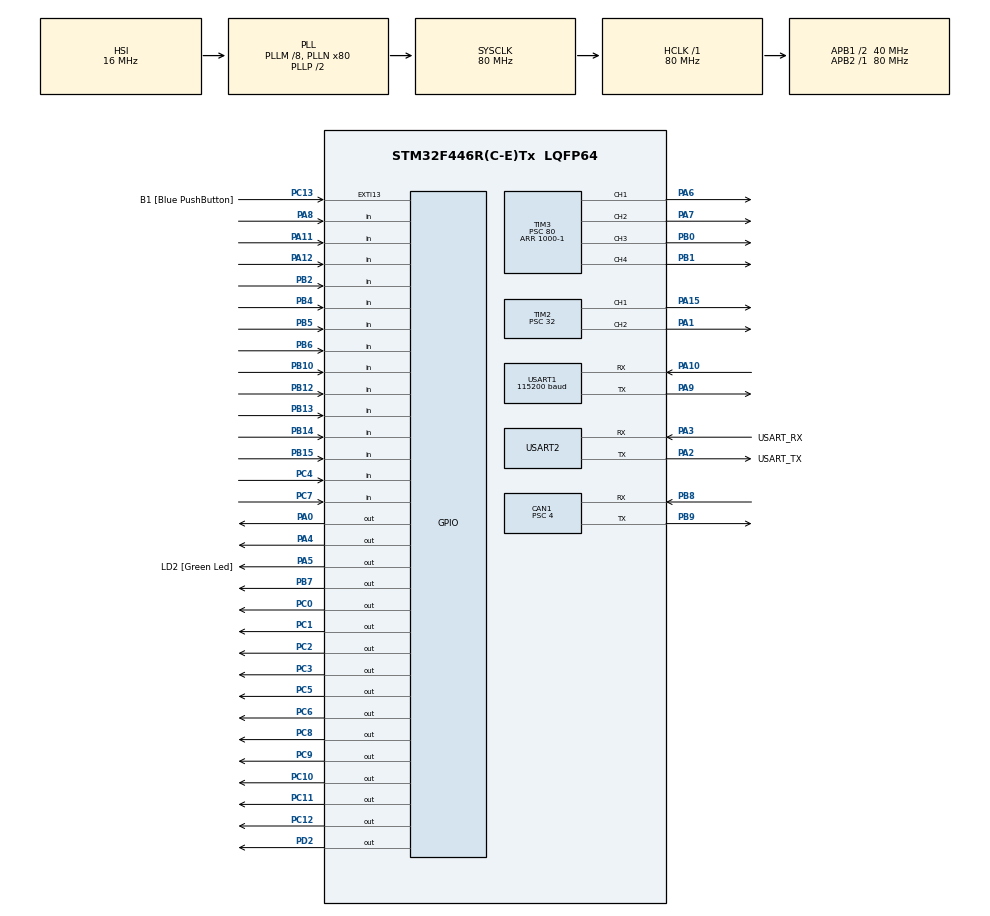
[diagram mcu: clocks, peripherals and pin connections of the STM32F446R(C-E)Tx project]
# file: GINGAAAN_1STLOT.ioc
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CAN1.BS1=CAN_BS1_11TQ
CAN1.BS2=CAN_BS2_8TQ
CAN1.CalculateBaudRate=500000
CAN1.CalculateTimeBit=2000.00
CAN1.CalculateTimeQuantum=100.0
CAN1.Prescaler=4
Dma.Request0=USART1_RX
Dma.Request1=USART1_TX
Dma.Request2=USART2_RX
Dma.Request3=USART2_TX
Dma.USART1_RX.0.Direction=DMA_PERIPH_TO_MEMORY
Dma.USART1_RX.0.FIFOMode=DMA_FIFOMODE_DISABLE
Dma.USART1_RX.0.Instance=DMA2_Stream2
Dma.USART1_RX.0.MemDataAlignment=DMA_MDATAALIGN_BYTE
Dma.USART1_RX.0.MemInc=DMA_MINC_ENABLE
Dma.USART1_RX.0.Mode=DMA_NORMAL
Dma.USART1_RX.0.PeriphDataAlignment=DMA_PDATAALIGN_BYTE
Dma.USART1_RX.0.PeriphInc=DMA_PINC_DISABLE
Dma.USART1_RX.0.Priority=DMA_PRIORITY_LOW
Dma.USART1_TX.1.Direction=DMA_MEMORY_TO_PERIPH
Dma.USART1_TX.1.FIFOMode=DMA_FIFOMODE_DISABLE
Dma.USART1_TX.1.Instance=DMA2_Stream7
Dma.USART1_TX.1.MemDataAlignment=DMA_MDATAALIGN_BYTE
Dma.USART1_TX.1.MemInc=DMA_MINC_ENABLE
Dma.USART1_TX.1.Mode=DMA_NORMAL
Dma.USART1_TX.1.PeriphDataAlignment=DMA_PDATAALIGN_BYTE
Dma.USART1_TX.1.PeriphInc=DMA_PINC_DISABLE
Dma.USART1_TX.1.Priority=DMA_PRIORITY_LOW
Dma.USART2_RX.2.Direction=DMA_PERIPH_TO_MEMORY
Dma.USART2_RX.2.FIFOMode=DMA_FIFOMODE_DISABLE
Dma.USART2_RX.2.Instance=DMA1_Stream5
Dma.USART2_RX.2.MemDataAlignment=DMA_MDATAALIGN_BYTE
Dma.USART2_RX.2.MemInc=DMA_MINC_ENABLE
Dma.USART2_RX.2.Mode=DMA_NORMAL
Dma.USART2_RX.2.PeriphDataAlignment=DMA_PDATAALIGN_BYTE
Dma.USART2_RX.2.PeriphInc=DMA_PINC_DISABLE
Dma.USART2_RX.2.Priority=DMA_PRIORITY_LOW
Dma.USART2_TX.3.Direction=DMA_MEMORY_TO_PERIPH
Dma.USART2_TX.3.FIFOMode=DMA_FIFOMODE_DISABLE
Dma.USART2_TX.3.Instance=DMA1_Stream6
Dma.USART2_TX.3.MemDataAlignment=DMA_MDATAALIGN_BYTE
Dma.USART2_TX.3.MemInc=DMA_MINC_ENABLE
Dma.USART2_TX.3.Mode=DMA_NORMAL
Dma.USART2_TX.3.PeriphDataAlignment=DMA_PDATAALIGN_BYTE
Dma.USART2_TX.3.PeriphInc=DMA_PINC_DISABLE
Dma.USART2_TX.3.Priority=DMA_PRIORITY_LOW
Mcu.Family=STM32F4
Mcu.Name=STM32F446R(C-E)Tx
Mcu.Package=LQFP64
NVIC.CAN1_RX0_IRQn=true\:0\:0\:false\:false\:true\:true\:true
NVIC.CAN1_RX1_IRQn=true\:0\:0\:false\:false\:true\:true\:true
NVIC.CAN1_SCE_IRQn=true\:0\:0\:false\:false\:true\:true\:true
NVIC.CAN1_TX_IRQn=true\:0\:0\:false\:false\:true\:true\:true
NVIC.DMA1_Stream5_IRQn=true\:0\:0\:false\:false\:true\:false\:true
NVIC.DMA1_Stream6_IRQn=true\:0\:0\:false\:false\:true\:false\:true
NVIC.DMA2_Stream2_IRQn=true\:0\:0\:false\:false\:true\:false\:true
NVIC.DMA2_Stream7_IRQn=true\:0\:0\:false\:false\:true\:false\:true
NVIC.PriorityGroup=NVIC_PRIORITYGROUP_0
NVIC.USART1_IRQn=true\:0\:0\:false\:false\:true\:true\:true
NVIC.USART2_IRQn=true\:0\:0\:false\:false\:true\:true\:true
PA0-WKUP.Signal=GPIO_Output
PA1.Signal=S_TIM2_CH2
PA10.Mode=Asynchronous
PA10.Signal=USART1_RX
PA11.GPIO_PuPd=GPIO_PULLUP
PA11.Signal=GPIO_Input
PA12.GPIO_PuPd=GPIO_PULLUP
PA12.Signal=GPIO_Input
PA13.GPIO_Label=TMS
PA13.Mode=Serial_Wire
PA13.Signal=SYS_JTMS-SWDIO
PA14.GPIO_Label=TCK
PA14.Mode=Serial_Wire
PA14.Signal=SYS_JTCK-SWCLK
PA15.Signal=S_TIM2_CH1_ETR
PA2.GPIO_Label=USART_TX
PA2.Mode=Asynchronous
PA2.Signal=USART2_TX
PA3.GPIO_Label=USART_RX
PA3.Mode=Asynchronous
PA3.Signal=USART2_RX
PA4.Signal=GPIO_Output
PA5.GPIO_Label=LD2 [Green Led]
PA5.Signal=GPIO_Output
PA6.Signal=S_TIM3_CH1
PA7.Signal=S_TIM3_CH2
PA8.GPIO_PuPd=GPIO_PULLUP
PA8.Signal=GPIO_Input
PA9.Mode=Asynchronous
PA9.Signal=USART1_TX
PB0.Signal=S_TIM3_CH3
PB1.Signal=S_TIM3_CH4
PB10.GPIO_PuPd=GPIO_PULLUP
PB10.Signal=GPIO_Input
PB12.GPIO_PuPd=GPIO_PULLUP
PB12.Signal=GPIO_Input
PB13.GPIO_PuPd=GPIO_PULLUP
PB13.Signal=GPIO_Input
PB14.GPIO_PuPd=GPIO_PULLUP
PB14.Signal=GPIO_Input
PB15.GPIO_PuPd=GPIO_PULLUP
PB15.Signal=GPIO_Input
PB2.GPIO_PuPd=GPIO_PULLUP
PB2.Signal=GPIO_Input
PB3.GPIO_Label=SWO
PB3.Signal=SYS_JTDO-SWO
PB4.GPIO_PuPd=GPIO_PULLUP
PB4.Signal=GPIO_Input
PB5.GPIO_PuPd=GPIO_PULLUP
PB5.Signal=GPIO_Input
PB6.GPIO_PuPd=GPIO_PULLUP
PB6.Signal=GPIO_Input
PB7.Signal=GPIO_Output
PB8.Mode=CAN_Activate
PB8.Signal=CAN1_RX
PB9.Mode=CAN_Activate
PB9.Signal=CAN1_TX
PC0.Signal=GPIO_Output
PC1.Signal=GPIO_Output
PC10.Signal=GPIO_Output
PC11.Signal=GPIO_Output
PC12.Signal=GPIO_Output
PC13.GPIO_Label=B1 [Blue PushButton]
PC13.GPIO_ModeDefaultEXTI=GPIO_MODE_IT_FALLING
PC13.Signal=GPXTI13
PC14-OSC32_IN.Mode=LSE-External-Oscillator
PC14-OSC32_IN.Signal=RCC_OSC32_IN
PC15-OSC32_OUT.Mode=LSE-External-Oscillator
PC15-OSC32_OUT.Signal=RCC_OSC32_OUT
PC2.Signal=GPIO_Output
PC3.Signal=GPIO_Output
PC4.GPIO_PuPd=GPIO_PULLUP
PC4.Signal=GPIO_Input
PC5.Signal=GPIO_Output
PC6.Signal=GPIO_Output
PC7.GPIO_PuPd=GPIO_PULLUP
PC7.Signal=GPIO_Input
PC8.Signal=GPIO_Output
PC9.Signal=GPIO_Output
PD2.Signal=GPIO_Output
PH0-OSC_IN.Mode=HSE-External-Oscillator
PH0-OSC_IN.Signal=RCC_OSC_IN
PH1-OSC_OUT.Mode=HSE-External-Oscillator
PH1-OSC_OUT.Signal=RCC_OSC_OUT
ProjectManager.HeapSize=0x200
ProjectManager.StackSize=0x400
ProjectManager.TargetToolchain=STM32CubeIDE
RCC.48MHZClocksFreq_Value=84000000
RCC.AHBFreq_Value=80000000
RCC.APB1CLKDivider=RCC_HCLK_DIV2
RCC.APB1Freq_Value=40000000
RCC.APB1TimFreq_Value=80000000
RCC.APB2Freq_Value=80000000
RCC.APB2TimFreq_Value=80000000
RCC.CortexFreq_Value=80000000
RCC.FLatency-AdvancedSettings=FLASH_LATENCY_2
RCC.HCLKFreq_Value=80000000
RCC.HSE_VALUE=8000000
RCC.HSI_VALUE=16000000
RCC.PLLM=8
RCC.PLLN=80
RCC.SYSCLKFreq_VALUE=80000000
RCC.SYSCLKSource=RCC_SYSCLKSOURCE_PLLCLK
RCC.USBFreq_Value=80000000
RCC.VCOOutputFreq_Value=160000000
SH.S_TIM2_CH1_ETR.0=TIM2_CH1,PWM Generation1 CH1
SH.S_TIM2_CH2.0=TIM2_CH2,PWM Generation2 CH2
SH.S_TIM3_CH1.0=TIM3_CH1,PWM Generation1 CH1
SH.S_TIM3_CH2.0=TIM3_CH2,PWM Generation2 CH2
SH.S_TIM3_CH3.0=TIM3_CH3,PWM Generation3 CH3
SH.S_TIM3_CH4.0=TIM3_CH4,PWM Generation4 CH4
TIM2.Channel-PWM\ Generation1\ CH1=TIM_CHANNEL_1
TIM2.Channel-PWM\ Generation2\ CH2=TIM_CHANNEL_2
TIM2.Period=1000-1
TIM2.Prescaler=32
TIM3.Channel-PWM\ Generation1\ CH1=TIM_CHANNEL_1
TIM3.Channel-PWM\ Generation2\ CH2=TIM_CHANNEL_2
TIM3.Channel-PWM\ Generation3\ CH3=TIM_CHANNEL_3
TIM3.Channel-PWM\ Generation4\ CH4=TIM_CHANNEL_4
TIM3.Period=1000-1
TIM3.Prescaler=80
USART1.BaudRate=115200
USART1.VirtualMode=VM_ASYNC
USART2.VirtualMode=VM_ASYNC
VP_TIM2_VS_ClockSourceINT.Mode=Internal
VP_TIM3_VS_ClockSourceINT.Mode=Internal
board=NUCLEO-F446RE

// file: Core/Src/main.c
/* USER CODE BEGIN Header */
/**
  ******************************************************************************
  * @file           : main.c
  * @brief          : Main program body
  ******************************************************************************
  * @attention
  *
  * <h2><center>&copy; Copyright (c) 2023 STMicroelectronics.
  * All rights reserved.</center></h2>
  *
  * This software component is licensed by ST under BSD 3-Clause license,
  * the "License"; You may not use this file except in compliance with the
  * License. You may obtain a copy of the License at:
  *                        opensource.org/licenses/BSD-3-Clause
  *
  ******************************************************************************
  */
/* USER CODE END Header */
#include "main.h"

CAN_HandleTypeDef hcan1;

TIM_HandleTypeDef htim2;
TIM_HandleTypeDef htim3;

UART_HandleTypeDef huart1;
UART_HandleTypeDef huart2;
DMA_HandleTypeDef hdma_usart1_rx;
DMA_HandleTypeDef hdma_usart1_tx;
DMA_HandleTypeDef hdma_usart2_rx;
DMA_HandleTypeDef hdma_usart2_tx;

/* USER CODE BEGIN PV */
volatile uint32_t G_System_counter = 0;
/* USER CODE END PV */

void SystemClock_Config(void);
static void MX_GPIO_Init(void);
static void MX_DMA_Init(void);
static void MX_USART1_UART_Init(void);
static void MX_USART2_UART_Init(void);
static void MX_TIM3_Init(void);
static void MX_CAN1_Init(void);
static void MX_TIM2_Init(void);

int main(void)
{

  /* MCU Configuration--------------------------------------------------------*/

  /* Reset of all peripherals, Initializes the Flash interface and the Systick. */
  HAL_Init();

  /* Configure the system clock */
  SystemClock_Config();

  /* Initialize all configured peripherals */
  MX_GPIO_Init();
  MX_DMA_Init();
  MX_USART1_UART_Init();
  MX_USART2_UART_Init();
  MX_TIM3_Init();
  MX_CAN1_Init();
  MX_TIM2_Init();
  /* USER CODE BEGIN 2 */
  D_PWM_Init();
  D_CAN_Init();

  //HAL_TIM_Base_Start_IT(&htim2);

  appInit();
  /* USER CODE END 2 */

  /* Infinite loop */
  /* USER CODE BEGIN WHILE */
  while (1)
  {
	  //メインタスクの処理
	  appTask();

	  //if(HAL_GPIO_ReadPin(GPIOC,GPIO_PIN_9) == 1){
		  //HAL_GPIO_WritePin(GPIOA,GPIO_PIN_5,GPIO_PIN_SET);
	  //}else if(HAL_GPIO_ReadPin(GPIOC,GPIO_PIN_9) == 0){
		  //HAL_GPIO_WritePin(GPIOA,GPIO_PIN_5,GPIO_PIN_RESET);
	  //}
	  /*if(HAL_GPIO_ReadPin(GPIOC,GPIO_PIN_13) == 0){
		  __HAL_TIM_SET_COMPARE(&htim3, TIM_CHANNEL_4, 50);
		  //__HAL_TIM_SET_COMPARE(&htim3, TIM_CHANNEL_2, 500);
		  HAL_GPIO_WritePin(GPIOC,GPIO_PIN_5,GPIO_PIN_SET);
		  //HAL_GPIO_WritePin(GPIOC,GPIO_PIN_6,GPIO_PIN_SET);
		  HAL_GPIO_WritePin(GPIOA,GPIO_PIN_5,GPIO_PIN_SET);

		  HAL_GPIO_WritePin(GPIOB,GPIO_PIN_14,GPIO_PIN_SET);
		  HAL_GPIO_WritePin(GPIOB,GPIO_PIN_15,GPIO_PIN_RESET);

		  D_Mess_printf("%d\n", G_System_counter);
		  D_Mess_flush();
	  }else if(HAL_GPIO_ReadPin(GPIOC,GPIO_PIN_13) == 1){
		  __HAL_TIM_SET_COMPARE(&htim3, TIM_CHANNEL_4, 2500);
		  //__HAL_TIM_SET_COMPARE(&htim3, TIM_CHANNEL_2, 100);
		  HAL_GPIO_WritePin(GPIOC,GPIO_PIN_5,GPIO_PIN_RESET);
		  HAL_GPIO_WritePin(GPIOC,GPIO_PIN_6,GPIO_PIN_RESET);
		  HAL_GPIO_WritePin(GPIOA,GPIO_PIN_5,GPIO_PIN_RESET);

		  HAL_GPIO_WritePin(GPIOB,GPIO_PIN_14,GPIO_PIN_RESET);
		  HAL_GPIO_WritePin(GPIOB,GPIO_PIN_15,GPIO_PIN_SET);
//		  D_Mess_printf("tes2");
//		  D_Mess_flush();
	  }*/
	  D_Slider_SystickUpdate();
	  D_Mess_flush();
    /* USER CODE END WHILE */

  }
}

void SystemClock_Config(void)
{
  RCC_OscInitTypeDef RCC_OscInitStruct = {0};
  RCC_ClkInitTypeDef RCC_ClkInitStruct = {0};

  /** Configure the main internal regulator output voltage
  */
  __HAL_RCC_PWR_CLK_ENABLE();
  __HAL_PWR_VOLTAGESCALING_CONFIG(PWR_REGULATOR_VOLTAGE_SCALE3);
  /** Initializes the RCC Oscillators according to the specified parameters
  * in the RCC_OscInitTypeDef structure.
  */
  RCC_OscInitStruct.OscillatorType = RCC_OSCILLATORTYPE_HSI;
  RCC_OscInitStruct.HSIState = RCC_HSI_ON;
  RCC_OscInitStruct.HSICalibrationValue = RCC_HSICALIBRATION_DEFAULT;
  RCC_OscInitStruct.PLL.PLLState = RCC_PLL_ON;
  RCC_OscInitStruct.PLL.PLLSource = RCC_PLLSOURCE_HSI;
  RCC_OscInitStruct.PLL.PLLM = 8;
  RCC_OscInitStruct.PLL.PLLN = 80;
  RCC_OscInitStruct.PLL.PLLP = RCC_PLLP_DIV2;
  RCC_OscInitStruct.PLL.PLLQ = 2;
  RCC_OscInitStruct.PLL.PLLR = 2;
  if (HAL_RCC_OscConfig(&RCC_OscInitStruct) != HAL_OK)
  {
    Error_Handler();
  }
  /** Initializes the CPU, AHB and APB buses clocks
  */
  RCC_ClkInitStruct.ClockType = RCC_CLOCKTYPE_HCLK|RCC_CLOCKTYPE_SYSCLK
                              |RCC_CLOCKTYPE_PCLK1|RCC_CLOCKTYPE_PCLK2;
  RCC_ClkInitStruct.SYSCLKSource = RCC_SYSCLKSOURCE_PLLCLK;
  RCC_ClkInitStruct.AHBCLKDivider = RCC_SYSCLK_DIV1;
  RCC_ClkInitStruct.APB1CLKDivider = RCC_HCLK_DIV2;
  RCC_ClkInitStruct.APB2CLKDivider = RCC_HCLK_DIV1;

  if (HAL_RCC_ClockConfig(&RCC_ClkInitStruct, FLASH_LATENCY_2) != HAL_OK)
  {
    Error_Handler();
  }
}

static void MX_CAN1_Init(void)
{

  hcan1.Instance = CAN1;
  hcan1.Init.Prescaler = 4;
  hcan1.Init.Mode = CAN_MODE_NORMAL;
  hcan1.Init.SyncJumpWidth = CAN_SJW_1TQ;
  hcan1.Init.TimeSeg1 = CAN_BS1_11TQ;
  hcan1.Init.TimeSeg2 = CAN_BS2_8TQ;
  hcan1.Init.TimeTriggeredMode = DISABLE;
  hcan1.Init.AutoBusOff = DISABLE;
  hcan1.Init.AutoWakeUp = DISABLE;
  hcan1.Init.AutoRetransmission = DISABLE;
  hcan1.Init.ReceiveFifoLocked = DISABLE;
  hcan1.Init.TransmitFifoPriority = DISABLE;
  if (HAL_CAN_Init(&hcan1) != HAL_OK)
  {
    Error_Handler();
  }

}

static void MX_TIM2_Init(void)
{

  TIM_ClockConfigTypeDef sClockSourceConfig = {0};
  TIM_MasterConfigTypeDef sMasterConfig = {0};
  TIM_OC_InitTypeDef sConfigOC = {0};

  htim2.Instance = TIM2;
  htim2.Init.Prescaler = 32;
  htim2.Init.CounterMode = TIM_COUNTERMODE_UP;
  htim2.Init.Period = 1000-1;
  htim2.Init.ClockDivision = TIM_CLOCKDIVISION_DIV1;
  htim2.Init.AutoReloadPreload = TIM_AUTORELOAD_PRELOAD_DISABLE;
  if (HAL_TIM_Base_Init(&htim2) != HAL_OK)
  {
    Error_Handler();
  }
  sClockSourceConfig.ClockSource = TIM_CLOCKSOURCE_INTERNAL;
  if (HAL_TIM_ConfigClockSource(&htim2, &sClockSourceConfig) != HAL_OK)
  {
    Error_Handler();
  }
  if (HAL_TIM_PWM_Init(&htim2) != HAL_OK)
  {
    Error_Handler();
  }
  sMasterConfig.MasterOutputTrigger = TIM_TRGO_RESET;
  sMasterConfig.MasterSlaveMode = TIM_MASTERSLAVEMODE_DISABLE;
  if (HAL_TIMEx_MasterConfigSynchronization(&htim2, &sMasterConfig) != HAL_OK)
  {
    Error_Handler();
  }
  sConfigOC.OCMode = TIM_OCMODE_PWM1;
  sConfigOC.Pulse = 0;
  sConfigOC.OCPolarity = TIM_OCPOLARITY_HIGH;
  sConfigOC.OCFastMode = TIM_OCFAST_DISABLE;
  if (HAL_TIM_PWM_ConfigChannel(&htim2, &sConfigOC, TIM_CHANNEL_1) != HAL_OK)
  {
    Error_Handler();
  }
  if (HAL_TIM_PWM_ConfigChannel(&htim2, &sConfigOC, TIM_CHANNEL_2) != HAL_OK)
  {
    Error_Handler();
  }
  HAL_TIM_MspPostInit(&htim2);

}

static void MX_TIM3_Init(void)
{

  TIM_ClockConfigTypeDef sClockSourceConfig = {0};
  TIM_MasterConfigTypeDef sMasterConfig = {0};
  TIM_OC_InitTypeDef sConfigOC = {0};

  htim3.Instance = TIM3;
  htim3.Init.Prescaler = 80;
  htim3.Init.CounterMode = TIM_COUNTERMODE_UP;
  htim3.Init.Period = 1000-1;
  htim3.Init.ClockDivision = TIM_CLOCKDIVISION_DIV1;
  htim3.Init.AutoReloadPreload = TIM_AUTORELOAD_PRELOAD_DISABLE;
  if (HAL_TIM_Base_Init(&htim3) != HAL_OK)
  {
    Error_Handler();
  }
  sClockSourceConfig.ClockSource = TIM_CLOCKSOURCE_INTERNAL;
  if (HAL_TIM_ConfigClockSource(&htim3, &sClockSourceConfig) != HAL_OK)
  {
    Error_Handler();
  }
  if (HAL_TIM_PWM_Init(&htim3) != HAL_OK)
  {
    Error_Handler();
  }
  sMasterConfig.MasterOutputTrigger = TIM_TRGO_RESET;
  sMasterConfig.MasterSlaveMode = TIM_MASTERSLAVEMODE_DISABLE;
  if (HAL_TIMEx_MasterConfigSynchronization(&htim3, &sMasterConfig) != HAL_OK)
  {
    Error_Handler();
  }
  sConfigOC.OCMode = TIM_OCMODE_PWM1;
  sConfigOC.Pulse = 0;
  sConfigOC.OCPolarity = TIM_OCPOLARITY_HIGH;
  sConfigOC.OCFastMode = TIM_OCFAST_DISABLE;
  if (HAL_TIM_PWM_ConfigChannel(&htim3, &sConfigOC, TIM_CHANNEL_1) != HAL_OK)
  {
    Error_Handler();
  }
  if (HAL_TIM_PWM_ConfigChannel(&htim3, &sConfigOC, TIM_CHANNEL_2) != HAL_OK)
  {
    Error_Handler();
  }
  if (HAL_TIM_PWM_ConfigChannel(&htim3, &sConfigOC, TIM_CHANNEL_3) != HAL_OK)
  {
    Error_Handler();
  }
  if (HAL_TIM_PWM_ConfigChannel(&htim3, &sConfigOC, TIM_CHANNEL_4) != HAL_OK)
  {
    Error_Handler();
  }
  HAL_TIM_MspPostInit(&htim3);

}

static void MX_USART1_UART_Init(void)
{

  huart1.Instance = USART1;
  huart1.Init.BaudRate = 115200;
  huart1.Init.WordLength = UART_WORDLENGTH_8B;
  huart1.Init.StopBits = UART_STOPBITS_1;
  huart1.Init.Parity = UART_PARITY_NONE;
  huart1.Init.Mode = UART_MODE_TX_RX;
  huart1.Init.HwFlowCtl = UART_HWCONTROL_NONE;
  huart1.Init.OverSampling = UART_OVERSAMPLING_16;
  if (HAL_UART_Init(&huart1) != HAL_OK)
  {
    Error_Handler();
  }

}

static void MX_USART2_UART_Init(void)
{

  huart2.Instance = USART2;
  huart2.Init.BaudRate = 115200;
  huart2.Init.WordLength = UART_WORDLENGTH_8B;
  huart2.Init.StopBits = UART_STOPBITS_1;
  huart2.Init.Parity = UART_PARITY_NONE;
  huart2.Init.Mode = UART_MODE_TX_RX;
  huart2.Init.HwFlowCtl = UART_HWCONTROL_NONE;
  huart2.Init.OverSampling = UART_OVERSAMPLING_16;
  if (HAL_UART_Init(&huart2) != HAL_OK)
  {
    Error_Handler();
  }

}

static void MX_DMA_Init(void)
{

  /* DMA controller clock enable */
  __HAL_RCC_DMA2_CLK_ENABLE();
  __HAL_RCC_DMA1_CLK_ENABLE();

  /* DMA interrupt init */
  /* DMA1_Stream5_IRQn interrupt configuration */
  HAL_NVIC_SetPriority(DMA1_Stream5_IRQn, 0, 0);
  HAL_NVIC_EnableIRQ(DMA1_Stream5_IRQn);
  /* DMA1_Stream6_IRQn interrupt configuration */
  HAL_NVIC_SetPriority(DMA1_Stream6_IRQn, 0, 0);
  HAL_NVIC_EnableIRQ(DMA1_Stream6_IRQn);
  /* DMA2_Stream2_IRQn interrupt configuration */
  HAL_NVIC_SetPriority(DMA2_Stream2_IRQn, 0, 0);
  HAL_NVIC_EnableIRQ(DMA2_Stream2_IRQn);
  /* DMA2_Stream7_IRQn interrupt configuration */
  HAL_NVIC_SetPriority(DMA2_Stream7_IRQn, 0, 0);
  HAL_NVIC_EnableIRQ(DMA2_Stream7_IRQn);

}

static void MX_GPIO_Init(void)
{
  GPIO_InitTypeDef GPIO_InitStruct = {0};

  /* GPIO Ports Clock Enable */
  __HAL_RCC_GPIOC_CLK_ENABLE();
  __HAL_RCC_GPIOH_CLK_ENABLE();
  __HAL_RCC_GPIOA_CLK_ENABLE();
  __HAL_RCC_GPIOB_CLK_ENABLE();
  __HAL_RCC_GPIOD_CLK_ENABLE();

  /*Configure GPIO pin Output Level */
  HAL_GPIO_WritePin(GPIOC, GPIO_PIN_0|GPIO_PIN_1|GPIO_PIN_2|GPIO_PIN_3
                          |GPIO_PIN_5|GPIO_PIN_6|GPIO_PIN_8|GPIO_PIN_9
                          |GPIO_PIN_10|GPIO_PIN_11|GPIO_PIN_12, GPIO_PIN_RESET);

  /*Configure GPIO pin Output Level */
  HAL_GPIO_WritePin(GPIOA, GPIO_PIN_0|GPIO_PIN_4|LD2_Pin, GPIO_PIN_RESET);

  /*Configure GPIO pin Output Level */
  HAL_GPIO_WritePin(GPIOD, GPIO_PIN_2, GPIO_PIN_RESET);

  /*Configure GPIO pin Output Level */
  HAL_GPIO_WritePin(GPIOB, GPIO_PIN_7, GPIO_PIN_RESET);

  /*Configure GPIO pin : B1_Pin */
  GPIO_InitStruct.Pin = B1_Pin;
  GPIO_InitStruct.Mode = GPIO_MODE_IT_FALLING;
  GPIO_InitStruct.Pull = GPIO_NOPULL;
  HAL_GPIO_Init(B1_GPIO_Port, &GPIO_InitStruct);

  /*Configure GPIO pins : PC0 PC1 PC2 PC3
                           PC5 PC6 PC8 PC9
                           PC10 PC11 PC12 */
  GPIO_InitStruct.Pin = GPIO_PIN_0|GPIO_PIN_1|GPIO_PIN_2|GPIO_PIN_3
                          |GPIO_PIN_5|GPIO_PIN_6|GPIO_PIN_8|GPIO_PIN_9
                          |GPIO_PIN_10|GPIO_PIN_11|GPIO_PIN_12;
  GPIO_InitStruct.Mode = GPIO_MODE_OUTPUT_PP;
  GPIO_InitStruct.Pull = GPIO_NOPULL;
  GPIO_InitStruct.Speed = GPIO_SPEED_FREQ_LOW;
  HAL_GPIO_Init(GPIOC, &GPIO_InitStruct);

  /*Configure GPIO pins : PA0 PA4 LD2_Pin */
  GPIO_InitStruct.Pin = GPIO_PIN_0|GPIO_PIN_4|LD2_Pin;
  GPIO_InitStruct.Mode = GPIO_MODE_OUTPUT_PP;
  GPIO_InitStruct.Pull = GPIO_NOPULL;
  GPIO_InitStruct.Speed = GPIO_SPEED_FREQ_LOW;
  HAL_GPIO_Init(GPIOA, &GPIO_InitStruct);

  /*Configure GPIO pins : PC4 PC7 */
  GPIO_InitStruct.Pin = GPIO_PIN_4|GPIO_PIN_7;
  GPIO_InitStruct.Mode = GPIO_MODE_INPUT;
  GPIO_InitStruct.Pull = GPIO_PULLUP;
  HAL_GPIO_Init(GPIOC, &GPIO_InitStruct);

  /*Configure GPIO pins : PB2 PB10 PB12 PB13
                           PB14 PB15 PB4 PB5
                           PB6 */
  GPIO_InitStruct.Pin = GPIO_PIN_2|GPIO_PIN_10|GPIO_PIN_12|GPIO_PIN_13
                          |GPIO_PIN_14|GPIO_PIN_15|GPIO_PIN_4|GPIO_PIN_5
                          |GPIO_PIN_6;
  GPIO_InitStruct.Mode = GPIO_MODE_INPUT;
  GPIO_InitStruct.Pull = GPIO_PULLUP;
  HAL_GPIO_Init(GPIOB, &GPIO_InitStruct);

  /*Configure GPIO pins : PA8 PA11 PA12 */
  GPIO_InitStruct.Pin = GPIO_PIN_8|GPIO_PIN_11|GPIO_PIN_12;
  GPIO_InitStruct.Mode = GPIO_MODE_INPUT;
  GPIO_InitStruct.Pull = GPIO_PULLUP;
  HAL_GPIO_Init(GPIOA, &GPIO_InitStruct);

  /*Configure GPIO pin : PD2 */
  GPIO_InitStruct.Pin = GPIO_PIN_2;
  GPIO_InitStruct.Mode = GPIO_MODE_OUTPUT_PP;
  GPIO_InitStruct.Pull = GPIO_NOPULL;
  GPIO_InitStruct.Speed = GPIO_SPEED_FREQ_LOW;
  HAL_GPIO_Init(GPIOD, &GPIO_InitStruct);

  /*Configure GPIO pin : PB7 */
  GPIO_InitStruct.Pin = GPIO_PIN_7;
  GPIO_InitStruct.Mode = GPIO_MODE_OUTPUT_PP;
  GPIO_InitStruct.Pull = GPIO_NOPULL;
  GPIO_InitStruct.Speed = GPIO_SPEED_FREQ_LOW;
  HAL_GPIO_Init(GPIOB, &GPIO_InitStruct);

}

/* USER CODE BEGIN 4 */
void HAL_UART_TxCpltCallback(UART_HandleTypeDef *UartHandle){
  UNUSED(UartHandle);
  if(UartHandle->Instance == USART2){
	  D_Mess_TransitionCompletedCallBack();
  }else if(UartHandle->Instance == USART1){
	  D_Slider_TransitionCompletedCallBack();
  }
}
void HAL_UART_RxCpltCallback(UART_HandleTypeDef *UartHandle){
  UNUSED(UartHandle);
  if(UartHandle->Instance == USART2){
	  D_Mess_ReceptionCompletedCallBack();
  }else if(UartHandle->Instance == USART1){
	  D_Slider_ReceptionCompletedCallBack();
  }
}
void HAL_CAN_RxFifo0MsgPendingCallback(CAN_HandleTypeDef *hcan){
  D_CAN_ReceiveCallBack(hcan);
}
void HAL_CAN_TxMailboxCompleteCallback(){
  //D_CAN_ReceiveCallBack(hcan);
  //D_Mess_printf("TxMailboxComplete\n");
}
void HAL_CAN_TxMailbox0CompleteCallback(CAN_HandleTypeDef *hcan){
  //D_CAN_ReceiveCallBack(hcan);
  //D_Mess_printf("TxMailbox0Complete\n");
}
void HAL_CAN_TxMailbox1CompleteCallback(CAN_HandleTypeDef *hcan){
  //D_CAN_ReceiveCallBack(hcan);
  //D_Mess_printf("TxMailbox1Complete\n");
}
void HAL_CAN_TxMailbox2CompleteCallback(CAN_HandleTypeDef *hcan){
  //D_CAN_ReceiveCallBack(hcan);
  //D_Mess_printf("TxMailbox2Complete\n");
}
/*
void HAL_I2C_MasterTxCpltCallback(I2C_HandleTypeDef *hi2c){
  UNUSED(hi2c);
  if(hi2c->Instance == I2C1){
	  D_I2C1_TransitionCompletedCallBack();
  }
}
void HAL_I2C_MasterRxCpltCallback(I2C_HandleTypeDef *hi2c){
  UNUSED(hi2c);
  if(hi2c->Instance == I2C1){
	  D_I2C1_ReceptionCompletedCallBack();
  }
}
*/
/* USER CODE END 4 */

void Error_Handler(void)
{
  __disable_irq();
  while (1)
  {
  }
}

/************************ (C) COPYRIGHT STMicroelectronics *****END OF FILE****/
